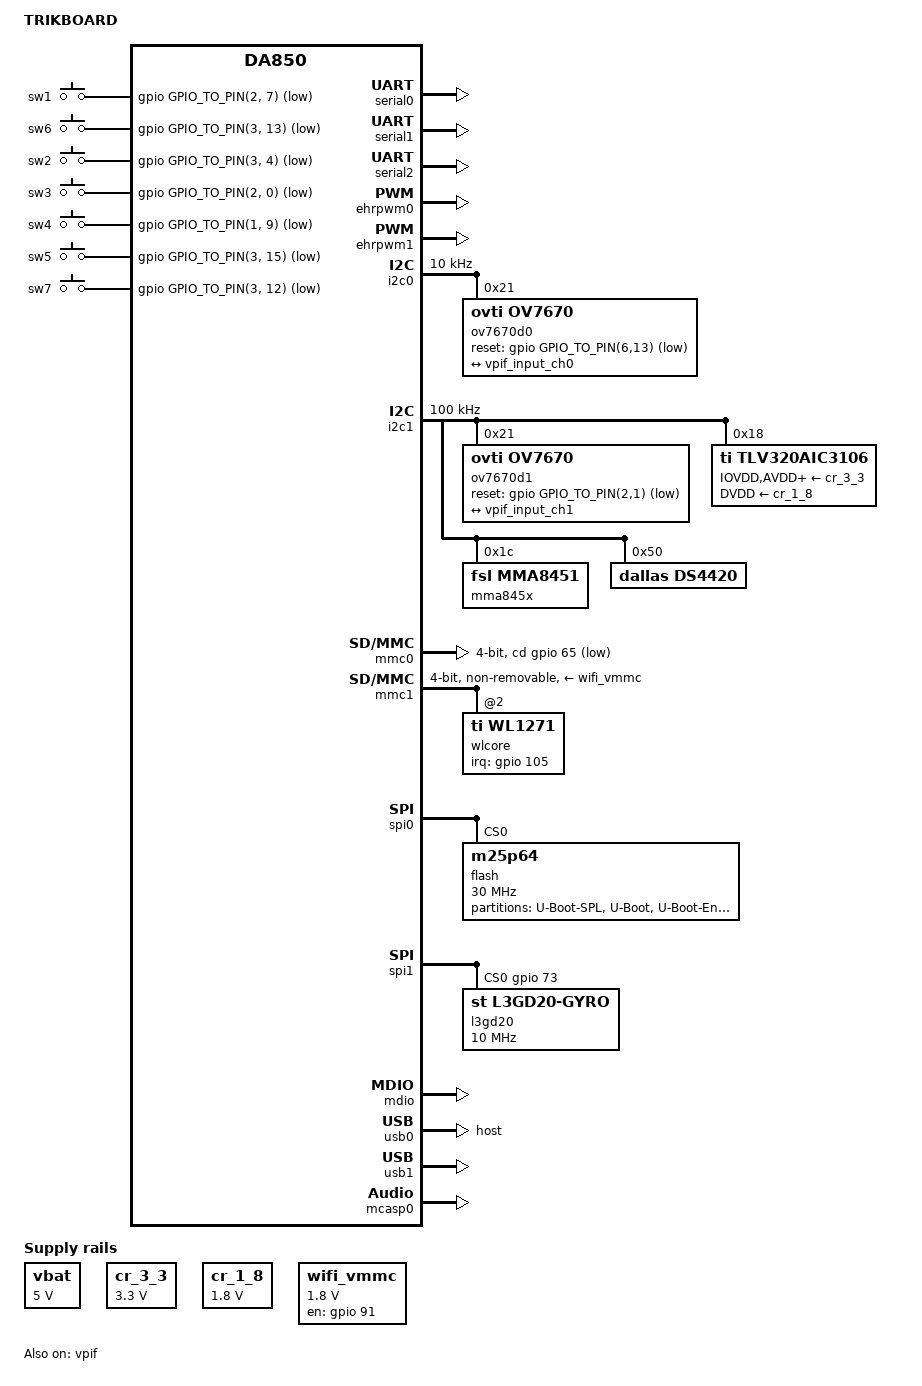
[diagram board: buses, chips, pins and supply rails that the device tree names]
/*
 * Device Tree for CyberTech Labs trik board
 *
 * Copyright (C) CyberTech Labs Ltd - http://www.trikset.com
 *
 * This program is free software; you can redistribute  it and/or modify it
 * under  the terms of  the GNU General  Public License as published by the
 * Free Software Foundation, version 2.
 */
/dts-v1/;
#include "da850.dtsi"
#include <dt-bindings/gpio/gpio.h>
#include <dt-bindings/input/linux-event-codes.h>

// cannot include include/linux/platform_data/gpio-davinci.h into a .dts  
#define GPIO_TO_PIN(bank, gpio) (16 * (bank) + (gpio))


/ {
	compatible = "ctl,trikboard", "ti,da850";
	model = "TRIKBOARD";

	chosen {
		stdout-path = &serial1;
	};

	aliases {
		serial0 = &serial0;
		serial1 = &serial1;
		serial2 = &serial2;
		spi0 = &spi0;
		i2c1 = &i2c0;
		i2c2 = &i2c1;
	};

	soc@1c00000 {
		pmx_core: pinmux@14120 {
			status = "okay";

			mmc0_cd_pin: pinmux_mmc0_cd {
				pinctrl-single,bits = <
					/* GP4[1] */
					0x28 0x08000000 0x0f000000
				>;
			};
			mmc1_pins: pinmux_mmc1_pins {
				pinctrl-single,bits = <
					/* GP6[9], MMCSD1_CLK, MMCSD1_CMD, MMCSD1_DAT[0-3] */
					0x34 0x08000000 0x0f000000
					0x48 0x00022200 0x000fff00
					0x4C 0x00022200 0x000fff00
				>;
			};
			mcasp0_pins: pinmux_mcasp0_pins {
				pinctrl-single,bits = <
					/*
					 * AHCLKX, ACLKX, AFSX, AHCLKR, ACLKR,
					 * AFSR, AMUTE
					 */
					0x00 0x11111111 0xffffffff
					/* AXR11, AXR12 */
					0x04 0x00011000 0x000ff000
				>;
			};
			nand_pins: nand_pins {
				pinctrl-single,bits = <
					/* EMA_WAIT[0], EMA_OE, EMA_WE, EMA_CS[4], EMA_CS[3] */
					0x1c 0x10110110  0xf0ff0ff0
					/*
					 * EMA_D[0], EMA_D[1], EMA_D[2],
					 * EMA_D[3], EMA_D[4], EMA_D[5],
					 * EMA_D[6], EMA_D[7]
					 */
					0x24 0x11111111  0xffffffff
					/* EMA_A[1], EMA_A[2] */
					0x30 0x01100000  0x0ff00000
				>;
			};
			spi0_cs1_pin: pinmux_spi0_cs1 {
				pinctrl-single,bits = <
					/* CS1 */
					0x10 0x00000001 0x000000f0
				>;
			};
			spi1_cs1_pin: pinmux_spi1_cs1 {
				pinctrl-single,bits = <
					/* GP4[9] */
					0x24 0x08000000 0x0f000000
				>;
			};
			wifi_wl_en_pin: pinmux_wifi_wl_en {
				pinctrl-single,bits = <
					/* GP5[11] */
					0x2c 0x00080000 0x000f0000
				>;
			};
			lcd_pins: pinmux_lcd_pins {
				pinctrl-single,bits = <
					/*
					 * LCD_D[2], LCD_D[3], LCD_D[4], LCD_D[5],
					 * LCD_D[6], LCD_D[7]
					 */
					0x40 0x22222200 0xffffff00
					/*
					 * LCD_D[10], LCD_D[11], LCD_D[12], LCD_D[13],
					 * LCD_D[14], LCD_D[15], LCD_D[0], LCD_D[1]
					 */
					0x44 0x22222222 0xffffffff
					/* LCD_D[8], LCD_D[9] */
					0x48 0x00000022 0x000000ff

					/* LCD_PCLK, GP8[10] (reset)  */
					0x48 0x82000000 0xff000000
					/* LCD_AC_ENB_CS, LCD_VSYNC, LCD_HSYNC */
					0x4c 0x02000022 0x0f0000ff
                                        /* GP6[12] (backlight) */ 
                                        0x34 0x00008000 0x0000f000 
                                        
				>;
			};
                        /* pins to enable power_connectors and the voltage translators ,
                           reset and program and interrupt pin for the MSP, resets for the video modules,
                           LCD backlight 
                           JD ports controls 
                           some "GPIO" PCB signals 
                        */
                        gpios_to_userspace: pinmux_gpios_to_userspace {
                                pinctrl-single,bits = <
                                /* GP5[14], 5[13], 5[9, 8, 7, 6, 5, 4, 3, 0] */
                                0x2c 0x88000880 0xff000ff0
                                0x30 0x80088888 0xf00fffff 
                                /* GP3[7, 5, 3, 2, 1] */
                                0x20 0x08880808 0x0fff0f0f
                                /* GP2[5, 4, 3, 2] */ 
                                0x18 0x00888800 0x00ffff00 
                                /* 1[12, 11, 10] */
                                0x08 0x00444000 0x00fff000
                                /* GP0[2, 3, 4] */
                                0x04 0x00888000 0x00fff000 
                                >; 
                        };
                        button_pins: pinmux_button_pins {
                                pinctrl-single,bits = <
                                       /* GP2[7], GP2[0] */
                                       0x18 0x80000008 0xf000000f  
                                       /* GP3[13], GP3[15], GP3[12] */
                                       0x1C 0x00008808 0x0000ff0f 
                                       /* GP3[4] */
                                       0x20 0x00008000 0x0000f000 
                                       /* GP1[9] */
                                       0x08 0x04000000 0x0f000000 
                               >;
                       };
                       /* here gpio2 means a signal name in the schematics 
                          it is a reset signal for the JVP2 connector */ 
		       pinctrl_gpio2: pinmux_pinctrl_gpio2 {
                               pinctrl-single,bits = < 
                               /* GP2[1] */ 
                               0x18 0x08000000 0x0f000000 
			       >; 
                       }; 
 		       pinctrl_gpio1: pinmux_pinctrl_gpio1 {
                               pinctrl-single,bits = < 
                               /* GP6[13] */ 
                               0x34 0x00000800 0x00000f00
			       >; 
                       }; 
                      pinctrl_clkout: pinmux_pinctrl_clkout { 
                               pinctrl-single,bits = <  
                                   /* clkout */ 
                                   0x34 0x00000010 0x000000f0
                               >; 
                       };

         	};
		serial0: serial@42000 {
			status = "okay";
		};
		serial1: serial@10c000 {
			status = "okay";
		};
		serial2: serial@10d000 {
			status = "okay";
		};
                ehrpwm0: pwm@300000 {
                        pinctrl-names = "default";
                        pinctrl-0 = <&ehrpwm0b_pins>; 
                        status = "okay";
                }; 
                ehrpwm1: pwm@302000 {
                        pinctrl-names = "default";
                        pinctrl-0 = <&ehrpwm1a_pins &ehrpwm1b_pins>; 
                        status = "okay";
                }; 
                ecap0: ecap@306000 {
                        pinctrl-names = "default";
			pinctrl-0 = <&ecap0_pins>; 
		        status = "okay";
                };
                ecap1: ecap@307000 {
                        pinctrl-names = "default";
			pinctrl-0 = <&ecap1_pins>; 
		        status = "okay";
                };
                ecap2: ecap@308000 {
                        pinctrl-names = "default";
			pinctrl-0 = <&ecap2_pins>; 
		        status = "okay";
                };
		rtc0: rtc@23000 {
			status = "okay";
		};
		i2c0: i2c@22000 {
			status = "okay";
			clock-frequency = <10000>;
			pinctrl-names = "default";
			pinctrl-0 = <&i2c0_pins>;
			ov7670d0: camera@21 {
	                        pinctrl-names = "default";
        	                pinctrl-0 = <&pinctrl_gpio1 &pinctrl_clkout>; 
				compatible = "ovti,ov7670";
				reg = <0x21>;
		  		reset-gpios = <&gpio GPIO_TO_PIN(6,13) GPIO_ACTIVE_LOW>; 
				port {
					ov7670e0: endpoint {
						remote-endpoint = <&vpif_input_ch0>;
					};
				};
			};


		};
		i2c1: i2c@228000 {
			status = "okay";
			clock-frequency = <100000>;
			pinctrl-names = "default";
			pinctrl-0 = <&i2c1_pins>;

			ov7670d1: camera@21 {
	                        pinctrl-names = "default";
        	                pinctrl-0 = <&pinctrl_gpio2 >; 
				compatible = "ovti,ov7670";
				reg = <0x21>;
		  		reset-gpios = <&gpio GPIO_TO_PIN(2,1) GPIO_ACTIVE_LOW>; 
				port {
					ov7670e1: endpoint {
						remote-endpoint = <&vpif_input_ch1>;
					};
				};
			};

			tlv320aic3106: tlv320aic3106@18 {
				#sound-dai-cells = <0>;
				compatible = "ti,tlv320aic3106";
				reg = <0x18>;
				status = "okay";

				/* Regulators */
				IOVDD-supply = <&cr_3_3>;
				AVDD-supply = <&cr_3_3>;
				DRVDD-supply = <&cr_3_3>;
				DVDD-supply = <&cr_1_8>;
			};
			mma845x: mma845x@1c {
				compatible = "fsl,mma8451";
				reg = <0x1c>;
				status = "okay";
			};
			ds4420: ds4420@50 {
				compatible = "dallas,ds4420";
				reg = <0x50>;
				status = "okay";
			};
		};
		wdt: wdt@21000 {
			status = "okay";
		};
		mmc0: mmc@40000 {
			max-frequency = <50000000>;
			bus-width = <4>;
			status = "okay";
			cd-gpios = <&gpio 65 GPIO_ACTIVE_LOW>;
			pinctrl-names = "default";
			pinctrl-0 = <&mmc0_pins>, <&mmc0_cd_pin>;
		};
		mmc1: mmc@21b000 {
			max-frequency = <24000000>;
			bus-width = <4>;
			status = "okay";
			pinctrl-names = "default";
			pinctrl-0 = <&mmc1_pins>;
			non-removable;
			cap-power-off-card;
			#address-cells = <1>;
			#size-cells = <0>;
			vmmc-supply = <&wifi_vmmc>;
			wlcore: wlcore@2 {
				compatible = "ti,wl1271";
				reg = <2>;
				ref-clock-frequency = <38400000>;
				interrupt-parent = <&gpio>;
				interrupts = <105 IRQ_TYPE_EDGE_RISING>;
				status = "okay";
			};
		};
		spi0: spi@41000 {
			status = "okay";
			pinctrl-names = "default";
			pinctrl-0 = <&spi0_pins &spi0_cs0_pin &spi0_cs1_pin>;
			flash: m25p80@0 {
				#address-cells = <1>;
				#size-cells = <1>;
				compatible = "m25p64";
				spi-max-frequency = <30000000>;
				m25p,fast-read;
				reg = <0>;
				partition@0 {
					label = "U-Boot-SPL";
					reg = <0x00000000 0x00010000>;
					read-only;
				};
				partition@1 {
					label = "U-Boot";
					reg = <0x00010000 0x00080000>;
					read-only;
				};
				partition@2 {
					label = "U-Boot-Env";
					reg = <0x00090000 0x00010000>;
					read-only;
				};
				partition@3 {
					label = "Kernel";
					reg = <0x000a0000 0x00280000>;
				};
				partition@4 {
					label = "Filesystem";
					reg = <0x00320000 0x00400000>;
				};
				partition@5 {
					label = "MAC-Address";
					reg = <0x007f0000 0x00010000>;
					read-only;
				};
			};
		};
		spi1: spi@30e000 {
			status = "okay";
			pinctrl-names = "default";
			pinctrl-0 = <&spi1_pins &spi1_cs1_pin>;
			cs-gpios = <&gpio 73 0>;
			l3gd20: l3gd20@0 {
				compatible = "st,l3gd20-gyro";
				spi-max-frequency = <10000000>;
				reg = <0>;
			};
		};
		mdio: mdio@224000 {
			status = "okay";
			pinctrl-names = "default";
			pinctrl-0 = <&mdio_pins>;
			bus_freq = <2200000>;
		};
		gpio: gpio@226000 {
                  /*      pinctrl-names = "default";
                        pinctrl-0 = <&gpios_to_userspace>; */
			status = "okay";
		};

                gpio-keys {
                        compatible = "gpio-keys";
                        #address-cells = <1>;
                        #size-cells = <0>;
                        pinctrl-names = "default";
                        pinctrl-0 = <&button_pins &gpios_to_userspace>;
                        autorepeat;
                        sw1  {
                             label = "sw1";
                             gpios = <&gpio GPIO_TO_PIN(2, 7) GPIO_ACTIVE_LOW>;
                             linux,code = <KEY_POWER>; 
                             gpio-key;
                             autorepeat;
                        }; 
                        sw6  {
                             label = "sw6";
                             gpios = <&gpio GPIO_TO_PIN(3, 13) GPIO_ACTIVE_LOW>;
                             linux,code = <KEY_DOWN>; 
                             gpio-key;
                             autorepeat;
                        }; 
                        sw2  {
                             label = "sw2";
                             gpios = <&gpio GPIO_TO_PIN(3, 4) GPIO_ACTIVE_LOW>;
                             linux,code = <KEY_UP>; 
                             gpio-key;
                             autorepeat;
                        }; 
                        sw3  {
                             label = "sw3";
                             gpios = <&gpio GPIO_TO_PIN(2, 0) GPIO_ACTIVE_LOW>;
                             linux,code = <KEY_ESC>; 
                             gpio-key;
                             autorepeat;
                        }; 
                        sw4  {
                             label = "sw4";
                             gpios = <&gpio GPIO_TO_PIN(1, 9) GPIO_ACTIVE_LOW>;
                             linux,code = <KEY_LEFT>;
                             gpio-key;
                             autorepeat;
                        }; 
                        sw5  {
                             label = "sw5";
                             gpios = <&gpio GPIO_TO_PIN(3, 15) GPIO_ACTIVE_LOW>;
                             linux,code = <KEY_RIGHT>; 
                             gpio-key;
                             autorepeat;
                        }; 
                        sw7  {
                             label = "sw7";
                             gpios = <&gpio GPIO_TO_PIN(3, 12) GPIO_ACTIVE_LOW>;
                             linux,code = <KEY_ENTER>; 
                             gpio-key;
                             autorepeat;
                        }; 
                };

		usb0: usb@200000 {
			dr_mode = "host";
			status = "okay";
		};
		usb1: usb@225000 {
			status = "okay";
		};
		cfgchip: chip-controller@1417c {
			usb_phy: usb-phy {
				status = "okay";
			};
		};
	};
	vbat: fixedregulator0 {
		compatible = "regulator-fixed";
		regulator-name = "vbat";
		regulator-min-microvolt = <5000000>;
		regulator-max-microvolt = <5000000>;
		regulator-boot-on;
	};
	cr_3_3: fixedregulator-3_3 {
		compatible = "regulator-fixed";
		regulator-name = "cr_3_3";
		regulator-min-microvolt = <3300000>;
		regulator-max-microvolt = <3300000>;
		regulator-boot-on;
	};
	cr_1_8: fixedregulator-1_8 {
		compatible = "regulator-fixed";
		regulator-name = "cr_1_8";
		regulator-min-microvolt = <1800000>;
		regulator-max-microvolt = <1800000>;
		regulator-boot-on;
	};
	wifi_vmmc: fixedregulator-wifi_wl_en {
		compatible = "regulator-fixed";
		regulator-name = "wifi_wl_en_reg";
		regulator-min-microvolt = <1800000>;
		regulator-max-microvolt = <1800000>;
		startup-delay-us = <70000>;
		pinctrl-names = "default";
		pinctrl-0 = <&wifi_wl_en_pin>;
		gpio = <&gpio 91 GPIO_ACTIVE_HIGH>;
		enable-active-high;
	};

	sound {
		compatible = "simple-audio-card";
		simple-audio-card,name = "DA850/OMAP-L138 EVM";
		simple-audio-card,widgets =
			"Line", "Line In",
			"Line", "Line Out";
		simple-audio-card,routing =
			"LINE1L", "Line In",
			"LINE1R", "Line In",
			"Line Out", "LLOUT",
			"Line Out", "RLOUT";
		simple-audio-card,format = "dsp_b";
		simple-audio-card,bitclock-master = <&link0_codec>;
		simple-audio-card,frame-master = <&link0_codec>;
		simple-audio-card,bitclock-inversion;

		simple-audio-card,cpu {
			sound-dai = <&mcasp0>;
			system-clock-frequency = <24576000>;
		};

		link0_codec: simple-audio-card,codec {
			sound-dai = <&tlv320aic3106>;
			system-clock-frequency = <24576000>;
		};
	};

        lcd { 
                compatible = "hack,ili9340";
 		pinctrl-names = "default";
		pinctrl-0 = <&lcd_pins>;
       }; 



};

&mcasp0 {
	#sound-dai-cells = <0>;
	status = "okay";
	pinctrl-names = "default";
	pinctrl-0 = <&mcasp0_pins>;

	op-mode = <0>;          /* MCASP_IIS_MODE */
	tdm-slots = <2>;
	/* 4 serializer */
	serial-dir = <  /* 0: INACTIVE, 1: TX, 2: RX */
		0 0 0 0
		0 0 0 0
		0 0 0 1
		2 0 0 0
	>;
	tx-num-evt = <32>;
	rx-num-evt = <32>;
};

&edma0 {
	ti,edma-reserved-slot-ranges = <32 50>;
};

&edma1 {
	ti,edma-reserved-slot-ranges = <32 90>;
};


&vpif {
	compatible = "ti,da850-vpif";
	reg = <0x217000 0x1000>;
	interrupts = <92>;

	pinctrl-names = "default";
	pinctrl-0 = <&vpif_capture_pins>;

	status = "okay"; 

        ports { 

			#address-cells = <1>;
			#size-cells = <0>;
		port@0 {

			#address-cells = <1>;
			#size-cells = <0>;
                        reg = <0>;
			vpif_input_ch0: endpoint@0 {
				reg = <0>;
				bus-width = <8>;
				remote-endpoint = <&ov7670e0>; 
			}; 
                };

                port@1 {

			#address-cells = <1>;
			#size-cells = <0>;
			reg = <1>; 
			vpif_input_ch1: endpoint@0 {
				reg = <0>;
				bus-width = <8>;
				data-shift = <8>;
				remote-endpoint = <&ov7670e1>;   
			};
		};
        }; 
};


